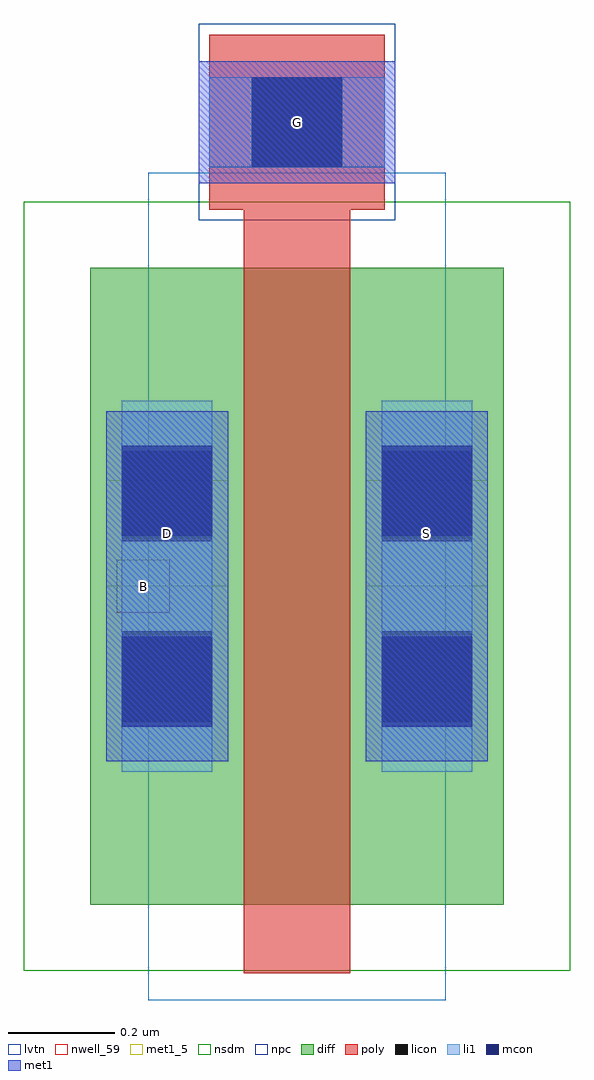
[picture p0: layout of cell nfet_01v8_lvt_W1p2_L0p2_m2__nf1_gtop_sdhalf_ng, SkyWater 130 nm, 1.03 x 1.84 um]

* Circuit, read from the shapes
.subckt nfet_01v8_lvt_W1p2_L0p2_m2__nf1_gtop_sdhalf_ng B D G S
XM1 S G D B sky130_fd_pr__nfet_01v8_lvt w=1.2 l=0.2
.ends

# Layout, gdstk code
import gdstk
lib = gdstk.Library(unit=1e-6, precision=1e-09)
def R(c, l, rs):  # rectangles x0, y0, x1, y1
    for r in rs: c.add(gdstk.rectangle(r[:2], r[2:], *l))
nwell_59 = (64, 59)
diff = (65, 20)
poly = (66, 20)
licon = (66, 44)
li1 = (67, 20)
mcon = (67, 44)
met1_5 = (68, 5)
met1 = (68, 20)
nsdm = (93, 44)
npc = (95, 20)
lvtn = (125, 44)

sky130_fd_pr__nfet_01v8_ = lib.new_cell('sky130_fd_pr__nfet_01v8_lvt_CT998P')
R(sky130_fd_pr__nfet_01v8_, diff, [(-0.39,-0.755,0.39,0.445)])
R(sky130_fd_pr__nfet_01v8_, poly, [(-0.1,-0.885,0.1,0.555), (-0.165,0.555,0.165,0.885)])
R(sky130_fd_pr__nfet_01v8_, licon, [(-0.33,-0.41,-0.16,-0.24), (0.16,-0.41,0.33,-0.24), (-0.33,-0.07,-0.16,0.1), (0.16,-0.07,0.33,0.1), (-0.085,0.635,0.085,0.805)])
R(sky130_fd_pr__nfet_01v8_, li1, [(-0.33,-0.505,-0.16,0.195), (0.16,-0.505,0.33,0.195), (-0.165,0.635,0.165,0.805)])
R(sky130_fd_pr__nfet_01v8_, mcon, [(-0.33,-0.42,-0.16,-0.25), (0.16,-0.42,0.33,-0.25), (-0.33,-0.06,-0.16,0.11), (0.16,-0.06,0.33,0.11), (-0.085,0.635,0.085,0.805)])
R(sky130_fd_pr__nfet_01v8_, met1, [(-0.36,-0.485,-0.13,0.175), (0.13,-0.485,0.36,0.175), (-0.145,0.605,0.145,0.835)])
R(sky130_fd_pr__nfet_01v8_, nsdm, [(-0.515,-0.88,0.515,0.57)])
R(sky130_fd_pr__nfet_01v8_, npc, [(-0.185,0.535,0.185,0.905)])
R(sky130_fd_pr__nfet_01v8_, lvtn, [(-0.28,-0.935,0.28,0.625)])
sky130_fd_pr__nfet_01v8_.add(gdstk.Label('D', (-0.245,-0.155), layer=67, texttype=5))
sky130_fd_pr__nfet_01v8_.add(gdstk.Label('S', (0.245,-0.155), layer=67, texttype=5))
sky130_fd_pr__nfet_01v8_.add(gdstk.Label('G', (0,0.72), layer=67, texttype=5))

nfet_01v8_lvt_w1p2_l0p2_ = lib.new_cell('nfet_01v8_lvt_W1p2_L0p2_m2__nf1_gtop_sdhalf_ng')
R(nfet_01v8_lvt_w1p2_l0p2_, nwell_59, [(0.05,0.68,0.15,0.78)])
R(nfet_01v8_lvt_w1p2_l0p2_, met1_5, [(0.03,0.73,0.26,0.93), (0.52,0.73,0.75,0.93), (0.205,1.49,0.575,1.72)])
R(nfet_01v8_lvt_w1p2_l0p2_, met1, [(0.03,0.73,0.26,0.93), (0.52,0.73,0.75,0.93), (0.205,1.49,0.575,1.72)])
nfet_01v8_lvt_w1p2_l0p2_.add(gdstk.Reference(sky130_fd_pr__nfet_01v8_, (0.39,0.885)))
nfet_01v8_lvt_w1p2_l0p2_.add(gdstk.Label('D', (0.145,0.83), layer=68, texttype=5))
nfet_01v8_lvt_w1p2_l0p2_.add(gdstk.Label('S', (0.635,0.83), layer=68, texttype=5))
nfet_01v8_lvt_w1p2_l0p2_.add(gdstk.Label('G', (0.39,1.605), layer=68, texttype=5))
nfet_01v8_lvt_w1p2_l0p2_.add(gdstk.Label('B', (0.1,0.73), layer=64, texttype=59))

lib.write_gds('nfet_01v8_lvt_W1p2_L0p2_m2__nf1_gtop_sdhalf_ng.gds')
